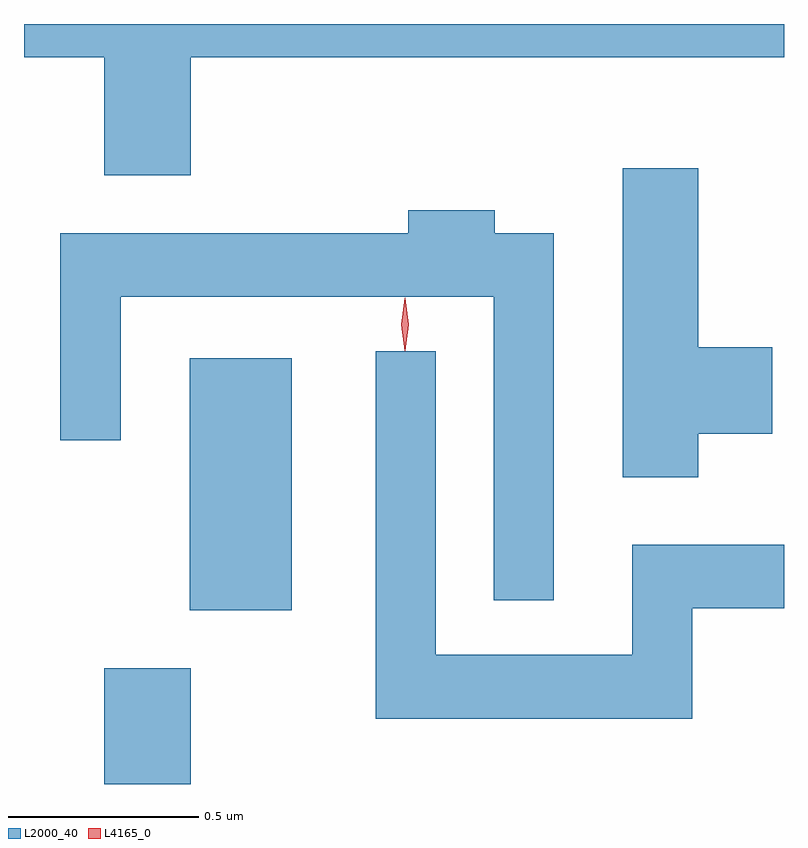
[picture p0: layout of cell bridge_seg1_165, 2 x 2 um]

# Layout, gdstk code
import gdstk
lib = gdstk.Library(unit=1e-6, precision=1e-09)
def R(c, l, rs):  # rectangles x0, y0, x1, y1
    for r in rs: c.add(gdstk.rectangle(r[:2], r[2:], *l))
def P(c, l, *ps):  # polygons
    for p in ps: c.add(gdstk.Polygon(p, *l))
L2000_40 = (2000, 40)
L4165_0 = (4165, 0)

bridge_seg1_165 = lib.new_cell('bridge_seg1_165')
R(bridge_seg1_165, L2000_40, [(767.821,946.504,768.049,946.809), (768.046,946.961,768.314,947.624)])
P(bridge_seg1_165, L2000_40, [(768.049,948.416),(769.61,948.416),(769.61,948.504),(767.61,948.504),(767.61,948.416),(767.821,948.416),(767.821,948.106),(768.049,948.106)],
  [(769.384,947.426),(769.579,947.426),(769.579,947.654),(769.384,947.654),(769.384,948.124),(769.186,948.124),(769.186,947.311),(769.384,947.311)],
  [(769.004,947.954),(768.849,947.954),(768.849,948.014),(768.621,948.014),(768.621,947.954),(767.706,947.954),(767.706,947.408),(767.864,947.408),(767.864,947.786),(768.846,947.786),(768.846,946.988),(769.004,946.988)],
  [(769.369,946.966),(769.61,946.966),(769.61,947.134),(769.211,947.134),(769.211,946.844),(768.694,946.844),(768.694,947.643),(768.536,947.643),(768.536,946.676),(769.369,946.676)])
P(bridge_seg1_165, L4165_0, [(768.613,947.643),(768.612,947.644),(768.603,947.713),(768.612,947.782),(768.613,947.783),(768.613,947.782),(768.623,947.713),(768.613,947.644)],
  [(768.612,947.647),(768.603,947.714),(768.612,947.78),(768.612,947.78),(768.613,947.78),(768.622,947.714),(768.613,947.647),(768.613,947.647)])

lib.write_gds('bridge_seg1_165.gds')
